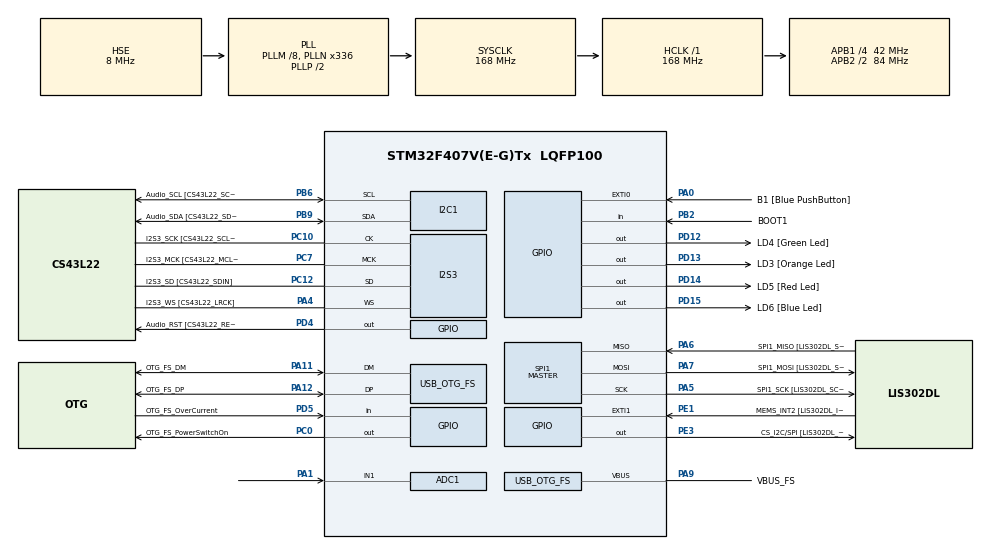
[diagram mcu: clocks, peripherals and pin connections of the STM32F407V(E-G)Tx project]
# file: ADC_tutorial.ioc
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ADC1.Channel-14\#ChannelRegularConversion=ADC_CHANNEL_1
ADC1.NbrOfConversionFlag=1
ADC1.Rank-14\#ChannelRegularConversion=1
ADC1.SamplingTime-14\#ChannelRegularConversion=ADC_SAMPLETIME_3CYCLES
ADC1.master=1
I2S3.AudioFreq-Half_Duplex_Master=I2S_AUDIOFREQ_96K
I2S3.ErrorAudioFreq=-2.34 %
I2S3.ErrorAudioFreq-Half_Duplex_Master=0.8 %
I2S3.FullDuplexMode=I2S_FULLDUPLEXMODE_DISABLE
I2S3.Instance=SPI$Index
I2S3.RealAudioFreq=93.75 KHz
I2S3.RealAudioFreq-Half_Duplex_Master=96.774 KHz
I2S3.VirtualMode=I2S_MODE_MASTER
Mcu.Family=STM32F4
Mcu.Name=STM32F407V(E-G)Tx
Mcu.Package=LQFP100
NVIC.OTG_FS_IRQn=true\:0\:0\:false\:false\:true\:true
NVIC.PriorityGroup=NVIC_PRIORITYGROUP_0
PA0-WKUP.GPIO_Label=B1 [Blue PushButton]
PA0-WKUP.GPIO_ModeDefaultEXTI=GPIO_MODE_EVT_RISING
PA0-WKUP.GPIO_PuPd=GPIO_NOPULL
PA0-WKUP.Signal=GPXTI0
PA1.Signal=ADCx_IN1
PA10.GPIO_Label=OTG_FS_ID
PA10.GPIO_Mode=GPIO_MODE_AF_PP
PA10.GPIO_PuPd=GPIO_NOPULL
PA10.GPIO_Speed=GPIO_SPEED_FREQ_LOW
PA10.Signal=USB_OTG_FS_ID
PA11.GPIO_Label=OTG_FS_DM
PA11.GPIO_Mode=GPIO_MODE_AF_PP
PA11.GPIO_PuPd=GPIO_NOPULL
PA11.GPIO_Speed=GPIO_SPEED_FREQ_LOW
PA11.Mode=Host_Only
PA11.Signal=USB_OTG_FS_DM
PA12.GPIO_Label=OTG_FS_DP
PA12.GPIO_Mode=GPIO_MODE_AF_PP
PA12.GPIO_PuPd=GPIO_NOPULL
PA12.GPIO_Speed=GPIO_SPEED_FREQ_LOW
PA12.Mode=Host_Only
PA12.Signal=USB_OTG_FS_DP
PA13.GPIO_Label=SWDIO
PA13.Mode=Serial_Wire
PA13.Signal=SYS_JTMS-SWDIO
PA14.GPIO_Label=SWCLK
PA14.Mode=Serial_Wire
PA14.Signal=SYS_JTCK-SWCLK
PA4.GPIO_Label=I2S3_WS [CS43L22_LRCK]
PA4.GPIO_Mode=GPIO_MODE_AF_PP
PA4.GPIO_PuPd=GPIO_NOPULL
PA4.GPIO_Speed=GPIO_SPEED_FREQ_LOW
PA4.Mode=Half_Duplex_Master
PA4.Signal=I2S3_WS
PA5.GPIO_Label=SPI1_SCK [LIS302DL_SCL/SPC]
PA5.GPIO_Mode=GPIO_MODE_AF_PP
PA5.GPIO_PuPd=GPIO_NOPULL
PA5.GPIO_Speed=GPIO_SPEED_FREQ_LOW
PA5.Mode=Full_Duplex_Master
PA5.Signal=SPI1_SCK
PA6.GPIO_Label=SPI1_MISO [LIS302DL_SDO]
PA6.GPIO_Mode=GPIO_MODE_AF_PP
PA6.GPIO_PuPd=GPIO_NOPULL
PA6.GPIO_Speed=GPIO_SPEED_FREQ_LOW
PA6.Mode=Full_Duplex_Master
PA6.Signal=SPI1_MISO
PA7.GPIO_Label=SPI1_MOSI [LIS302DL_SDA/SDI/SDO]
PA7.GPIO_Mode=GPIO_MODE_AF_PP
PA7.GPIO_PuPd=GPIO_NOPULL
PA7.GPIO_Speed=GPIO_SPEED_FREQ_LOW
PA7.Mode=Full_Duplex_Master
PA7.Signal=SPI1_MOSI
PA9.GPIO_Label=VBUS_FS
PA9.GPIO_Mode=GPIO_MODE_INPUT
PA9.GPIO_PuPd=GPIO_NOPULL
PA9.Mode=Activate_VBUS
PA9.Signal=USB_OTG_FS_VBUS
PB10.GPIO_Label=CLK_IN [MP45DT02_CLK]
PB10.GPIO_Mode=GPIO_MODE_AF_PP
PB10.GPIO_PuPd=GPIO_NOPULL
PB10.GPIO_Speed=GPIO_SPEED_FREQ_LOW
PB10.Signal=I2S2_CK
PB2.GPIO_Label=BOOT1
PB2.GPIO_Mode=GPIO_MODE_INPUT
PB2.GPIO_PuPd=GPIO_NOPULL
PB2.Signal=GPIO_Input
PB3.GPIO_Label=SWO
PB3.Signal=SYS_JTDO-SWO
PB6.GPIO_Label=Audio_SCL [CS43L22_SCL]
PB6.GPIO_Mode=GPIO_MODE_AF_OD
PB6.GPIO_PuPd=GPIO_NOPULL
PB6.GPIO_Speed=GPIO_SPEED_FREQ_LOW
PB6.Mode=I2C
PB6.Signal=I2C1_SCL
PB9.GPIO_Label=Audio_SDA [CS43L22_SDA]
PB9.GPIO_Mode=GPIO_MODE_AF_OD
PB9.GPIO_PuPd=GPIO_NOPULL
PB9.GPIO_Speed=GPIO_SPEED_FREQ_LOW
PB9.Mode=I2C
PB9.Signal=I2C1_SDA
PC0.GPIO_Label=OTG_FS_PowerSwitchOn
PC0.GPIO_PuPd=GPIO_NOPULL
PC0.GPIO_Speed=GPIO_SPEED_FREQ_LOW
PC0.PinState=GPIO_PIN_SET
PC0.Signal=GPIO_Output
PC10.GPIO_Label=I2S3_SCK [CS43L22_SCLK]
PC10.GPIO_Mode=GPIO_MODE_AF_PP
PC10.GPIO_PuPd=GPIO_NOPULL
PC10.GPIO_Speed=GPIO_SPEED_FREQ_LOW
PC10.Mode=Half_Duplex_Master
PC10.Signal=I2S3_CK
PC12.GPIO_Label=I2S3_SD [CS43L22_SDIN]
PC12.GPIO_Mode=GPIO_MODE_AF_PP
PC12.GPIO_PuPd=GPIO_NOPULL
PC12.GPIO_Speed=GPIO_SPEED_FREQ_LOW
PC12.Mode=Half_Duplex_Master
PC12.Signal=I2S3_SD
PC14-OSC32_IN.GPIO_Label=PC14-OSC32_IN
PC14-OSC32_IN.Mode=LSE-External-Oscillator
PC14-OSC32_IN.Signal=RCC_OSC32_IN
PC15-OSC32_OUT.GPIO_Label=PC15-OSC32_OUT
PC15-OSC32_OUT.Mode=LSE-External-Oscillator
PC15-OSC32_OUT.Signal=RCC_OSC32_OUT
PC3.GPIO_Label=PDM_OUT [MP45DT02_DOUT]
PC3.GPIO_Mode=GPIO_MODE_AF_PP
PC3.GPIO_PuPd=GPIO_NOPULL
PC3.GPIO_Speed=GPIO_SPEED_FREQ_LOW
PC3.Signal=I2S2_SD
PC7.GPIO_Label=I2S3_MCK [CS43L22_MCLK]
PC7.GPIO_Mode=GPIO_MODE_AF_PP
PC7.GPIO_PuPd=GPIO_NOPULL
PC7.GPIO_Speed=GPIO_SPEED_FREQ_LOW
PC7.Mode=Master_Clock_Activated
PC7.Signal=I2S3_MCK
PD12.GPIO_Label=LD4 [Green Led]
PD12.GPIO_PuPd=GPIO_NOPULL
PD12.GPIO_Speed=GPIO_SPEED_FREQ_LOW
PD12.Signal=GPIO_Output
PD13.GPIO_Label=LD3 [Orange Led]
PD13.GPIO_PuPd=GPIO_NOPULL
PD13.GPIO_Speed=GPIO_SPEED_FREQ_LOW
PD13.Signal=GPIO_Output
PD14.GPIO_Label=LD5 [Red Led]
PD14.GPIO_PuPd=GPIO_NOPULL
PD14.GPIO_Speed=GPIO_SPEED_FREQ_LOW
PD14.Signal=GPIO_Output
PD15.GPIO_Label=LD6 [Blue Led]
PD15.GPIO_PuPd=GPIO_NOPULL
PD15.GPIO_Speed=GPIO_SPEED_FREQ_LOW
PD15.Signal=GPIO_Output
PD4.GPIO_Label=Audio_RST [CS43L22_RESET]
PD4.GPIO_PuPd=GPIO_NOPULL
PD4.GPIO_Speed=GPIO_SPEED_FREQ_LOW
PD4.Signal=GPIO_Output
PD5.GPIO_Label=OTG_FS_OverCurrent
PD5.GPIO_Mode=GPIO_MODE_INPUT
PD5.GPIO_PuPd=GPIO_NOPULL
PD5.Signal=GPIO_Input
PE1.GPIO_Label=MEMS_INT2 [LIS302DL_INT2]
PE1.GPIO_ModeDefaultEXTI=GPIO_MODE_EVT_RISING
PE1.GPIO_PuPd=GPIO_NOPULL
PE1.Signal=GPXTI1
PE3.GPIO_Label=CS_I2C/SPI [LIS302DL_CS_I2C/SPI]
PE3.GPIO_PuPd=GPIO_NOPULL
PE3.GPIO_Speed=GPIO_SPEED_FREQ_LOW
PE3.Signal=GPIO_Output
PH0-OSC_IN.GPIO_Label=PH0-OSC_IN
PH0-OSC_IN.Mode=HSE-External-Oscillator
PH0-OSC_IN.Signal=RCC_OSC_IN
PH1-OSC_OUT.GPIO_Label=PH1-OSC_OUT
PH1-OSC_OUT.Mode=HSE-External-Oscillator
PH1-OSC_OUT.Signal=RCC_OSC_OUT
ProjectManager.HeapSize=0x200
ProjectManager.StackSize=0x400
ProjectManager.TargetToolchain=SW4STM32
RCC.48MHZClocksFreq_Value=48000000
RCC.AHBFreq_Value=168000000
RCC.APB1CLKDivider=RCC_HCLK_DIV4
RCC.APB1Freq_Value=42000000
RCC.APB1TimFreq_Value=84000000
RCC.APB2CLKDivider=RCC_HCLK_DIV2
RCC.APB2Freq_Value=84000000
RCC.APB2TimFreq_Value=168000000
RCC.CortexFreq_Value=168000000
RCC.HCLKFreq_Value=168000000
RCC.HSE_VALUE=8000000
RCC.HSI_VALUE=16000000
RCC.PLLM=8
RCC.PLLN=336
RCC.PLLQ=7
RCC.SYSCLKFreq_VALUE=168000000
RCC.SYSCLKSource=RCC_SYSCLKSOURCE_PLLCLK
RCC.VCOOutputFreq_Value=336000000
SH.ADCx_IN1.0=ADC1_IN1,IN1
SPI1.BaudRatePrescaler-Full_Duplex_Master=SPI_BAUDRATEPRESCALER_2
SPI1.CalculateBaudRate-Full_Duplex_Master=42.0 MBits/s
SPI1.Direction=SPI_DIRECTION_2LINES
SPI1.Mode=SPI_MODE_MASTER
SPI1.Mode-Full_Duplex_Master=SPI_MODE_MASTER
SPI1.VirtualType=VM_MASTER
USB_HOST.BSP.number=1
USB_HOST.USBH_HandleTypeDef-CDC_FS=hUsbHostFS
USB_HOST.VirtualModeFS=Cdc
USB_HOST0.BSP.STBoard=false
USB_HOST0.BSP.api=Unknown
USB_HOST0.BSP.i2caddr=0
USB_HOST0.BSP.i2creg=0
USB_HOST0.BSP.instance=PC0
USB_HOST0.BSP.ip=GPIO
USB_HOST0.BSP.mode=Output
USB_HOST0.BSP.name=Drive_VBUS_FS
USB_HOST0.BSP.solution=PC0
USB_OTG_FS.VirtualMode=Host_Only
USB_OTG_FS.phy_itface=HCD_PHY_EMBEDDED
VP_USB_HOST_VS_USB_HOST_CDC_FS.Mode=CDC_FS
board=STM32F4DISCOVERY

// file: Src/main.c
/**
  ******************************************************************************
  * @file           : main.c
  * @brief          : Main program body
  ******************************************************************************
  * This notice applies to any and all portions of this file
  * that are not between comment pairs USER CODE BEGIN and
  * USER CODE END. Other portions of this file, whether
  * inserted by the user or by software development tools
  * are owned by their respective copyright owners.
  *
  * Copyright (c) 2018 STMicroelectronics International N.V.
  * All rights reserved.
  *
  * Redistribution and use in source and binary forms, with or without
  * modification, are permitted, provided that the following conditions are met:
  *
  * 1. Redistribution of source code must retain the above copyright notice,
  *    this list of conditions and the following disclaimer.
  * 2. Redistributions in binary form must reproduce the above copyright notice,
  *    this list of conditions and the following disclaimer in the documentation
  *    and/or other materials provided with the distribution.
  * 3. Neither the name of STMicroelectronics nor the names of other
  *    contributors to this software may be used to endorse or promote products
  *    derived from this software without specific written permission.
  * 4. This software, including modifications and/or derivative works of this
  *    software, must execute solely and exclusively on microcontroller or
  *    microprocessor devices manufactured by or for STMicroelectronics.
  * 5. Redistribution and use of this software other than as permitted under
  *    this license is void and will automatically terminate your rights under
  *    this license.
  *
  * THIS SOFTWARE IS PROVIDED BY STMICROELECTRONICS AND CONTRIBUTORS "AS IS"
  * AND ANY EXPRESS, IMPLIED OR STATUTORY WARRANTIES, INCLUDING, BUT NOT
  * LIMITED TO, THE IMPLIED WARRANTIES OF MERCHANTABILITY, FITNESS FOR A
  * PARTICULAR PURPOSE AND NON-INFRINGEMENT OF THIRD PARTY INTELLECTUAL PROPERTY
  * RIGHTS ARE DISCLAIMED TO THE FULLEST EXTENT PERMITTED BY LAW. IN NO EVENT
  * SHALL STMICROELECTRONICS OR CONTRIBUTORS BE LIABLE FOR ANY DIRECT, INDIRECT,
  * INCIDENTAL, SPECIAL, EXEMPLARY, OR CONSEQUENTIAL DAMAGES (INCLUDING, BUT NOT
  * LIMITED TO, PROCUREMENT OF SUBSTITUTE GOODS OR SERVICES; LOSS OF USE, DATA,
  * OR PROFITS; OR BUSINESS INTERRUPTION) HOWEVER CAUSED AND ON ANY THEORY OF
  * LIABILITY, WHETHER IN CONTRACT, STRICT LIABILITY, OR TORT (INCLUDING
  * NEGLIGENCE OR OTHERWISE) ARISING IN ANY WAY OUT OF THE USE OF THIS SOFTWARE,
  * EVEN IF ADVISED OF THE POSSIBILITY OF SUCH DAMAGE.
  *
  ******************************************************************************
  */
#include "main.h"
#include "stm32f4xx_hal.h"
#include "usb_host.h"

ADC_HandleTypeDef hadc1;

I2C_HandleTypeDef hi2c1;

I2S_HandleTypeDef hi2s3;

SPI_HandleTypeDef hspi1;

/* USER CODE BEGIN PV */
/* Private variables ---------------------------------------------------------*/

/* USER CODE END PV */

void SystemClock_Config(void);
static void MX_GPIO_Init(void);
static void MX_I2C1_Init(void);
static void MX_I2S3_Init(void);
static void MX_SPI1_Init(void);
static void MX_ADC1_Init(void);
void MX_USB_HOST_Process(void);

/* USER CODE BEGIN PFP */
/* Private function prototypes -----------------------------------------------*/

/* USER CODE END PFP */

int main(void)
{

  /* MCU Configuration----------------------------------------------------------*/

  /* Reset of all peripherals, Initializes the Flash interface and the Systick. */
  HAL_Init();

  /* Configure the system clock */
  SystemClock_Config();

  /* Initialize all configured peripherals */
  MX_GPIO_Init();
  MX_I2C1_Init();
  MX_I2S3_Init();
  MX_SPI1_Init();
  MX_USB_HOST_Init();
  MX_ADC1_Init();

  /* Infinite loop */
  /* USER CODE BEGIN WHILE */
  float percent = 0;
  int raw_adc_value = 0;
  float voltage = 0;
  while (1)
  {

  /* USER CODE END WHILE */
    MX_USB_HOST_Process();

  /* USER CODE BEGIN 3 */
    //start the adc
    HAL_ADC_Start(&hadc1);
    //poll until an adc conversion is completed
	HAL_ADC_PollForConversion(&hadc1, 10);
	//read the value
	raw_adc_value = HAL_ADC_GetValue(&hadc1);
	//stop the adc
	HAL_ADC_Stop(&hadc1);

	percent = ((float) raw_adc_value) / 4092; //converting the adc value to a percent
	voltage = percent * 3; //convert the percentage to a voltage value

	if (voltage < 0.5) {
		//no LED's on
		HAL_GPIO_WritePin(LD3_GPIO_Port, LD3_Pin, GPIO_PIN_RESET); //turn off LED3
		HAL_GPIO_WritePin(LD4_GPIO_Port, LD4_Pin, GPIO_PIN_RESET); //turn off LED4
		HAL_GPIO_WritePin(LD5_GPIO_Port, LD5_Pin, GPIO_PIN_RESET); //turn off LED5
		HAL_GPIO_WritePin(LD6_GPIO_Port, LD6_Pin, GPIO_PIN_RESET); //turn off LED6
	}
	else if(voltage < 1) {
		HAL_GPIO_WritePin(LD3_GPIO_Port, LD3_Pin, GPIO_PIN_SET); //turn on LED3
		HAL_GPIO_WritePin(LD4_GPIO_Port, LD4_Pin, GPIO_PIN_RESET); //turn off LED4
		HAL_GPIO_WritePin(LD5_GPIO_Port, LD5_Pin, GPIO_PIN_RESET); //turn off LED5
		HAL_GPIO_WritePin(LD6_GPIO_Port, LD6_Pin, GPIO_PIN_RESET); //turn off LED6
	}
	else if(voltage < 1.75) {
		HAL_GPIO_WritePin(LD3_GPIO_Port, LD3_Pin, GPIO_PIN_SET); //turn on LED3
		HAL_GPIO_WritePin(LD4_GPIO_Port, LD4_Pin, GPIO_PIN_SET); //turn on LED4
		HAL_GPIO_WritePin(LD5_GPIO_Port, LD5_Pin, GPIO_PIN_RESET); //turn off LED5
		HAL_GPIO_WritePin(LD6_GPIO_Port, LD6_Pin, GPIO_PIN_RESET); //turn off LED6
	}
	else if (voltage < 2.75) {
		HAL_GPIO_WritePin(LD3_GPIO_Port, LD3_Pin, GPIO_PIN_SET); //turn on LED3
		HAL_GPIO_WritePin(LD4_GPIO_Port, LD4_Pin, GPIO_PIN_SET); //turn on LED4
		HAL_GPIO_WritePin(LD5_GPIO_Port, LD5_Pin, GPIO_PIN_SET); //turn on LED5
		HAL_GPIO_WritePin(LD6_GPIO_Port, LD6_Pin, GPIO_PIN_RESET); //turn off LED6
	}
	else {
		HAL_GPIO_WritePin(LD3_GPIO_Port, LD3_Pin, GPIO_PIN_SET); //turn on LED3
		HAL_GPIO_WritePin(LD4_GPIO_Port, LD4_Pin, GPIO_PIN_SET); //turn on LED4
		HAL_GPIO_WritePin(LD5_GPIO_Port, LD5_Pin, GPIO_PIN_SET); //turn on LED5
		HAL_GPIO_WritePin(LD6_GPIO_Port, LD6_Pin, GPIO_PIN_SET); //turn on LED6
	}

  }
  /* USER CODE END 3 */

}

void SystemClock_Config(void)
{

  RCC_OscInitTypeDef RCC_OscInitStruct;
  RCC_ClkInitTypeDef RCC_ClkInitStruct;
  RCC_PeriphCLKInitTypeDef PeriphClkInitStruct;

    /**Configure the main internal regulator output voltage
    */
  __HAL_RCC_PWR_CLK_ENABLE();

  __HAL_PWR_VOLTAGESCALING_CONFIG(PWR_REGULATOR_VOLTAGE_SCALE1);

    /**Initializes the CPU, AHB and APB busses clocks
    */
  RCC_OscInitStruct.OscillatorType = RCC_OSCILLATORTYPE_HSE;
  RCC_OscInitStruct.HSEState = RCC_HSE_ON;
  RCC_OscInitStruct.PLL.PLLState = RCC_PLL_ON;
  RCC_OscInitStruct.PLL.PLLSource = RCC_PLLSOURCE_HSE;
  RCC_OscInitStruct.PLL.PLLM = 8;
  RCC_OscInitStruct.PLL.PLLN = 336;
  RCC_OscInitStruct.PLL.PLLP = RCC_PLLP_DIV2;
  RCC_OscInitStruct.PLL.PLLQ = 7;
  if (HAL_RCC_OscConfig(&RCC_OscInitStruct) != HAL_OK)
  {
    _Error_Handler(__FILE__, __LINE__);
  }

    /**Initializes the CPU, AHB and APB busses clocks
    */
  RCC_ClkInitStruct.ClockType = RCC_CLOCKTYPE_HCLK|RCC_CLOCKTYPE_SYSCLK
                              |RCC_CLOCKTYPE_PCLK1|RCC_CLOCKTYPE_PCLK2;
  RCC_ClkInitStruct.SYSCLKSource = RCC_SYSCLKSOURCE_PLLCLK;
  RCC_ClkInitStruct.AHBCLKDivider = RCC_SYSCLK_DIV1;
  RCC_ClkInitStruct.APB1CLKDivider = RCC_HCLK_DIV4;
  RCC_ClkInitStruct.APB2CLKDivider = RCC_HCLK_DIV2;

  if (HAL_RCC_ClockConfig(&RCC_ClkInitStruct, FLASH_LATENCY_5) != HAL_OK)
  {
    _Error_Handler(__FILE__, __LINE__);
  }

  PeriphClkInitStruct.PeriphClockSelection = RCC_PERIPHCLK_I2S;
  PeriphClkInitStruct.PLLI2S.PLLI2SN = 192;
  PeriphClkInitStruct.PLLI2S.PLLI2SR = 2;
  if (HAL_RCCEx_PeriphCLKConfig(&PeriphClkInitStruct) != HAL_OK)
  {
    _Error_Handler(__FILE__, __LINE__);
  }

    /**Configure the Systick interrupt time
    */
  HAL_SYSTICK_Config(HAL_RCC_GetHCLKFreq()/1000);

    /**Configure the Systick
    */
  HAL_SYSTICK_CLKSourceConfig(SYSTICK_CLKSOURCE_HCLK);

  /* SysTick_IRQn interrupt configuration */
  HAL_NVIC_SetPriority(SysTick_IRQn, 0, 0);
}

/* ADC1 init function */
static void MX_ADC1_Init(void)
{

  ADC_ChannelConfTypeDef sConfig;

    /**Configure the global features of the ADC (Clock, Resolution, Data Alignment and number of conversion)
    */
  hadc1.Instance = ADC1;
  hadc1.Init.ClockPrescaler = ADC_CLOCK_SYNC_PCLK_DIV4;
  hadc1.Init.Resolution = ADC_RESOLUTION_12B;
  hadc1.Init.ScanConvMode = DISABLE;
  hadc1.Init.ContinuousConvMode = DISABLE;
  hadc1.Init.DiscontinuousConvMode = DISABLE;
  hadc1.Init.ExternalTrigConvEdge = ADC_EXTERNALTRIGCONVEDGE_NONE;
  hadc1.Init.ExternalTrigConv = ADC_SOFTWARE_START;
  hadc1.Init.DataAlign = ADC_DATAALIGN_RIGHT;
  hadc1.Init.NbrOfConversion = 1;
  hadc1.Init.DMAContinuousRequests = DISABLE;
  hadc1.Init.EOCSelection = ADC_EOC_SINGLE_CONV;
  if (HAL_ADC_Init(&hadc1) != HAL_OK)
  {
    _Error_Handler(__FILE__, __LINE__);
  }

    /**Configure for the selected ADC regular channel its corresponding rank in the sequencer and its sample time.
    */
  sConfig.Channel = ADC_CHANNEL_1;
  sConfig.Rank = 1;
  sConfig.SamplingTime = ADC_SAMPLETIME_3CYCLES;
  if (HAL_ADC_ConfigChannel(&hadc1, &sConfig) != HAL_OK)
  {
    _Error_Handler(__FILE__, __LINE__);
  }

}

/* I2C1 init function */
static void MX_I2C1_Init(void)
{

  hi2c1.Instance = I2C1;
  hi2c1.Init.ClockSpeed = 100000;
  hi2c1.Init.DutyCycle = I2C_DUTYCYCLE_2;
  hi2c1.Init.OwnAddress1 = 0;
  hi2c1.Init.AddressingMode = I2C_ADDRESSINGMODE_7BIT;
  hi2c1.Init.DualAddressMode = I2C_DUALADDRESS_DISABLE;
  hi2c1.Init.OwnAddress2 = 0;
  hi2c1.Init.GeneralCallMode = I2C_GENERALCALL_DISABLE;
  hi2c1.Init.NoStretchMode = I2C_NOSTRETCH_DISABLE;
  if (HAL_I2C_Init(&hi2c1) != HAL_OK)
  {
    _Error_Handler(__FILE__, __LINE__);
  }

}

/* I2S3 init function */
static void MX_I2S3_Init(void)
{

  hi2s3.Instance = SPI3;
  hi2s3.Init.Mode = I2S_MODE_MASTER_TX;
  hi2s3.Init.Standard = I2S_STANDARD_PHILIPS;
  hi2s3.Init.DataFormat = I2S_DATAFORMAT_16B;
  hi2s3.Init.MCLKOutput = I2S_MCLKOUTPUT_ENABLE;
  hi2s3.Init.AudioFreq = I2S_AUDIOFREQ_96K;
  hi2s3.Init.CPOL = I2S_CPOL_LOW;
  hi2s3.Init.ClockSource = I2S_CLOCK_PLL;
  hi2s3.Init.FullDuplexMode = I2S_FULLDUPLEXMODE_DISABLE;
  if (HAL_I2S_Init(&hi2s3) != HAL_OK)
  {
    _Error_Handler(__FILE__, __LINE__);
  }

}

/* SPI1 init function */
static void MX_SPI1_Init(void)
{

  /* SPI1 parameter configuration*/
  hspi1.Instance = SPI1;
  hspi1.Init.Mode = SPI_MODE_MASTER;
  hspi1.Init.Direction = SPI_DIRECTION_2LINES;
  hspi1.Init.DataSize = SPI_DATASIZE_8BIT;
  hspi1.Init.CLKPolarity = SPI_POLARITY_LOW;
  hspi1.Init.CLKPhase = SPI_PHASE_1EDGE;
  hspi1.Init.NSS = SPI_NSS_SOFT;
  hspi1.Init.BaudRatePrescaler = SPI_BAUDRATEPRESCALER_2;
  hspi1.Init.FirstBit = SPI_FIRSTBIT_MSB;
  hspi1.Init.TIMode = SPI_TIMODE_DISABLE;
  hspi1.Init.CRCCalculation = SPI_CRCCALCULATION_DISABLE;
  hspi1.Init.CRCPolynomial = 10;
  if (HAL_SPI_Init(&hspi1) != HAL_OK)
  {
    _Error_Handler(__FILE__, __LINE__);
  }

}

/** Configure pins as
        * Analog
        * Input
        * Output
        * EVENT_OUT
        * EXTI
     PC3   ------> I2S2_SD
     PB10   ------> I2S2_CK
*/
static void MX_GPIO_Init(void)
{

  GPIO_InitTypeDef GPIO_InitStruct;

  /* GPIO Ports Clock Enable */
  __HAL_RCC_GPIOE_CLK_ENABLE();
  __HAL_RCC_GPIOC_CLK_ENABLE();
  __HAL_RCC_GPIOH_CLK_ENABLE();
  __HAL_RCC_GPIOA_CLK_ENABLE();
  __HAL_RCC_GPIOB_CLK_ENABLE();
  __HAL_RCC_GPIOD_CLK_ENABLE();

  /*Configure GPIO pin Output Level */
  HAL_GPIO_WritePin(CS_I2C_SPI_GPIO_Port, CS_I2C_SPI_Pin, GPIO_PIN_RESET);

  /*Configure GPIO pin Output Level */
  HAL_GPIO_WritePin(OTG_FS_PowerSwitchOn_GPIO_Port, OTG_FS_PowerSwitchOn_Pin, GPIO_PIN_SET);

  /*Configure GPIO pin Output Level */
  HAL_GPIO_WritePin(GPIOD, LD4_Pin|LD3_Pin|LD5_Pin|LD6_Pin
                          |Audio_RST_Pin, GPIO_PIN_RESET);

  /*Configure GPIO pin : CS_I2C_SPI_Pin */
  GPIO_InitStruct.Pin = CS_I2C_SPI_Pin;
  GPIO_InitStruct.Mode = GPIO_MODE_OUTPUT_PP;
  GPIO_InitStruct.Pull = GPIO_NOPULL;
  GPIO_InitStruct.Speed = GPIO_SPEED_FREQ_LOW;
  HAL_GPIO_Init(CS_I2C_SPI_GPIO_Port, &GPIO_InitStruct);

  /*Configure GPIO pin : OTG_FS_PowerSwitchOn_Pin */
  GPIO_InitStruct.Pin = OTG_FS_PowerSwitchOn_Pin;
  GPIO_InitStruct.Mode = GPIO_MODE_OUTPUT_PP;
  GPIO_InitStruct.Pull = GPIO_NOPULL;
  GPIO_InitStruct.Speed = GPIO_SPEED_FREQ_LOW;
  HAL_GPIO_Init(OTG_FS_PowerSwitchOn_GPIO_Port, &GPIO_InitStruct);

  /*Configure GPIO pin : PDM_OUT_Pin */
  GPIO_InitStruct.Pin = PDM_OUT_Pin;
  GPIO_InitStruct.Mode = GPIO_MODE_AF_PP;
  GPIO_InitStruct.Pull = GPIO_NOPULL;
  GPIO_InitStruct.Speed = GPIO_SPEED_FREQ_LOW;
  GPIO_InitStruct.Alternate = GPIO_AF5_SPI2;
  HAL_GPIO_Init(PDM_OUT_GPIO_Port, &GPIO_InitStruct);

  /*Configure GPIO pin : B1_Pin */
  GPIO_InitStruct.Pin = B1_Pin;
  GPIO_InitStruct.Mode = GPIO_MODE_EVT_RISING;
  GPIO_InitStruct.Pull = GPIO_NOPULL;
  HAL_GPIO_Init(B1_GPIO_Port, &GPIO_InitStruct);

  /*Configure GPIO pin : BOOT1_Pin */
  GPIO_InitStruct.Pin = BOOT1_Pin;
  GPIO_InitStruct.Mode = GPIO_MODE_INPUT;
  GPIO_InitStruct.Pull = GPIO_NOPULL;
  HAL_GPIO_Init(BOOT1_GPIO_Port, &GPIO_InitStruct);

  /*Configure GPIO pin : CLK_IN_Pin */
  GPIO_InitStruct.Pin = CLK_IN_Pin;
  GPIO_InitStruct.Mode = GPIO_MODE_AF_PP;
  GPIO_InitStruct.Pull = GPIO_NOPULL;
  GPIO_InitStruct.Speed = GPIO_SPEED_FREQ_LOW;
  GPIO_InitStruct.Alternate = GPIO_AF5_SPI2;
  HAL_GPIO_Init(CLK_IN_GPIO_Port, &GPIO_InitStruct);

  /*Configure GPIO pins : LD4_Pin LD3_Pin LD5_Pin LD6_Pin
                           Audio_RST_Pin */
  GPIO_InitStruct.Pin = LD4_Pin|LD3_Pin|LD5_Pin|LD6_Pin
                          |Audio_RST_Pin;
  GPIO_InitStruct.Mode = GPIO_MODE_OUTPUT_PP;
  GPIO_InitStruct.Pull = GPIO_NOPULL;
  GPIO_InitStruct.Speed = GPIO_SPEED_FREQ_LOW;
  HAL_GPIO_Init(GPIOD, &GPIO_InitStruct);

  /*Configure GPIO pin : OTG_FS_OverCurrent_Pin */
  GPIO_InitStruct.Pin = OTG_FS_OverCurrent_Pin;
  GPIO_InitStruct.Mode = GPIO_MODE_INPUT;
  GPIO_InitStruct.Pull = GPIO_NOPULL;
  HAL_GPIO_Init(OTG_FS_OverCurrent_GPIO_Port, &GPIO_InitStruct);

  /*Configure GPIO pin : MEMS_INT2_Pin */
  GPIO_InitStruct.Pin = MEMS_INT2_Pin;
  GPIO_InitStruct.Mode = GPIO_MODE_EVT_RISING;
  GPIO_InitStruct.Pull = GPIO_NOPULL;
  HAL_GPIO_Init(MEMS_INT2_GPIO_Port, &GPIO_InitStruct);

}

void _Error_Handler(char *file, int line)
{
  while(1)
  {
  }
}

/************************ (C) COPYRIGHT STMicroelectronics *****END OF FILE****/
